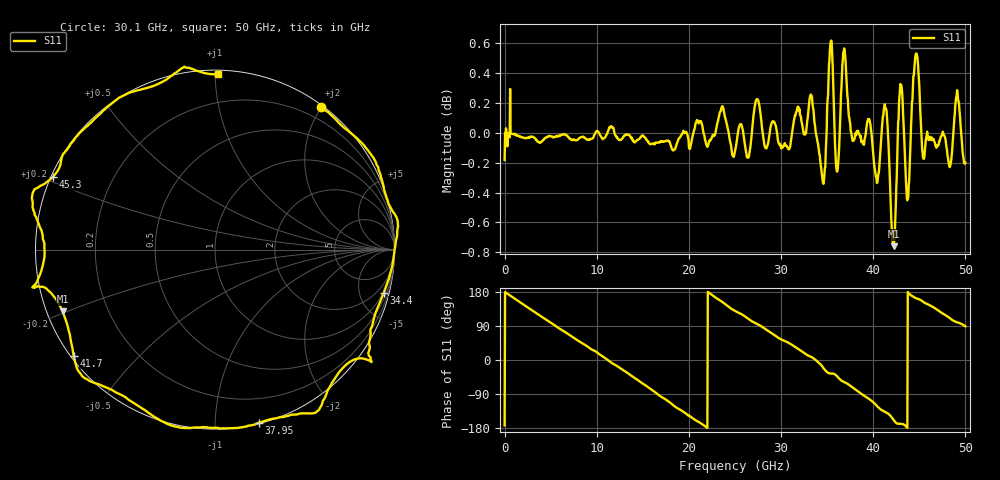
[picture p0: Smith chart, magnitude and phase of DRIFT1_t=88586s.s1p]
!Created with skrf (http://scikit-rf.org).
# Hz S RI R 50.0
!freq ReS11 ImS11
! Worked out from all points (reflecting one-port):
!   1001 points, 300 kHz to 50 GHz, reference 50 ohm
!   lowest |S11| = -0.8 dB at 42.2 GHz (marker M1), VSWR 22.88, Z = 2.27 - j9.72 ohm
!   phase of S11 starts at -173 deg and turns -818 deg over the sweep
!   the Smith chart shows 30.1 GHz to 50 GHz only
!   S11 on the Smith chart (normalised r, x): 30.1 GHz: 0.03, +1.99; 34.4 GHz: 0.94, -7.74; 37.95 GHz: 0.01, -1.29; 41.7 GHz: 0.01, -0.33; 45.3 GHz: 0.01, +0.21; 50 GHz: 0.02, +1.02
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300000  -0.9713 -0.1243
1.450291e9  -0.9125 0.4039
3.25028e9  -0.5933 0.8001
6.250262e9  0.1984 0.9787
9.500243e9  0.887 0.4521
1.250022e10  0.93 -0.3522
1.580021e10  0.2426 -0.9611
1.73502e10  -0.2114 -0.9706
1.875019e10  -0.5989 -0.792
2.165017e10  -0.9912 -0.1232
2.345016e10  -0.9295 0.4124
2.500015e10  -0.6262 0.7613
2.745014e10  -0.0821 1.023
3.010012e10  0.5893 0.794
3.125011e10  0.7816 0.6282
3.31501e10  1.014 0.1723
3.440009e10  0.9389 -0.2431
3.520009e10  0.8669 -0.5998
3.750008e10  0.3795 -0.9331
3.795007e10  0.2449 -0.9643
3.960006e10  -0.2398 -0.981
4.170005e10  -0.7874 -0.5911
4.220005e10  -0.8493 -0.3438
4.290004e10  -1.013 -0.2101
4.375004e10  -0.9505 0.0111
4.530003e10  -0.9016 0.4058
4.765001e10  -0.5138 0.8564
5e10  0.0194 0.9771
